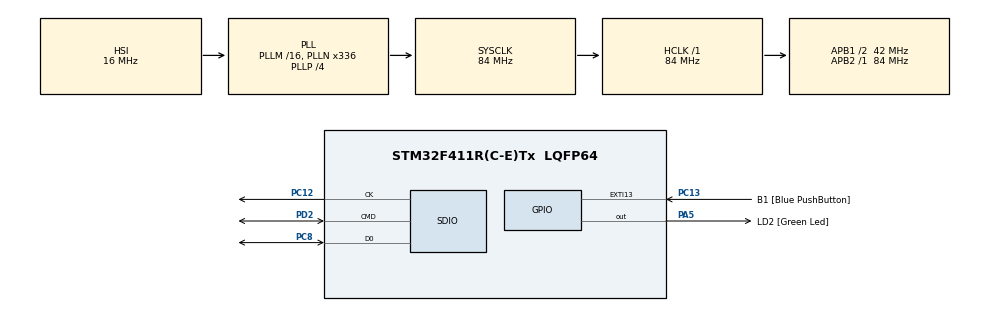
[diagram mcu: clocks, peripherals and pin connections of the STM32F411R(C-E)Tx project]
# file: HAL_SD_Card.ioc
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Mcu.Family=STM32F4
Mcu.Name=STM32F411R(C-E)Tx
Mcu.Package=LQFP64
NVIC.PriorityGroup=NVIC_PRIORITYGROUP_0
PA13.GPIO_Label=TMS
PA13.Mode=Trace-Asynchronous_SW
PA13.Signal=SYS_JTMS-SWDIO
PA14.GPIO_Label=TCK
PA14.Mode=Trace-Asynchronous_SW
PA14.Signal=SYS_JTCK-SWCLK
PA5.GPIO_Label=LD2 [Green Led]
PA5.GPIO_ModeDefaultOutputPP=GPIO_MODE_OUTPUT_PP
PA5.GPIO_PuPd=GPIO_NOPULL
PA5.GPIO_Speed=GPIO_SPEED_LOW
PA5.Signal=GPIO_Output
PB3.GPIO_Label=SWO
PB3.Mode=Trace-Asynchronous_SW
PB3.Signal=SYS_JTDO-SWO
PC12.Mode=SD_1_bit
PC12.Signal=SDIO_CK
PC13-ANTI_TAMP.GPIO_Label=B1 [Blue PushButton]
PC13-ANTI_TAMP.GPIO_ModeDefaultEXTI=GPIO_MODE_EVT_RISING
PC13-ANTI_TAMP.GPIO_PuPd=GPIO_NOPULL
PC13-ANTI_TAMP.Signal=GPXTI13
PC14-OSC32_IN.Signal=RCC_OSC32_IN
PC15-OSC32_OUT.Signal=RCC_OSC32_OUT
PC8.Mode=SD_1_bit
PC8.Signal=SDIO_D0
PD2.Mode=SD_1_bit
PD2.Signal=SDIO_CMD
PH0\ -\ OSC_IN.Signal=RCC_OSC_IN
PH1\ -\ OSC_OUT.Signal=RCC_OSC_OUT
ProjectManager.TargetToolchain=SW4STM32
RCC.48MHZClocksFreq_Value=48000000
RCC.AHBFreq_Value=84000000
RCC.APB1CLKDivider=RCC_HCLK_DIV2
RCC.APB1Freq_Value=42000000
RCC.APB1TimFreq_Value=84000000
RCC.APB2Freq_Value=84000000
RCC.APB2TimFreq_Value=84000000
RCC.CortexFreq_Value=10500000
RCC.HCLKFreq_Value=84000000
RCC.HSE_VALUE=8000000
RCC.HSI_VALUE=16000000
RCC.LSE_VALUE=32768
RCC.PLLN=336
RCC.PLLP=RCC_PLLP_DIV4
RCC.PLLQ=7
RCC.SYSCLKFreq_VALUE=84000000
RCC.SYSCLKSource=RCC_SYSCLKSOURCE_PLLCLK
RCC.VCOOutputFreq_Value=336000000
SDIO.BusWide=SDIO_BUS_WIDE_1B
SDIO.ClockDiv=0
VP_FATFS_VS_SDIO.Mode=SDIO

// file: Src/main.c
/**
  ******************************************************************************
  * File Name          : main.c
  * Date               : 19/04/2015 15:51:18
  * Description        : Main program body
  ******************************************************************************
  *
  * COPYRIGHT(c) 2015 STMicroelectronics
  *
  * Redistribution and use in source and binary forms, with or without modification,
  * are permitted provided that the following conditions are met:
  *   1. Redistributions of source code must retain the above copyright notice,
  *      this list of conditions and the following disclaimer.
  *   2. Redistributions in binary form must reproduce the above copyright notice,
  *      this list of conditions and the following disclaimer in the documentation
  *      and/or other materials provided with the distribution.
  *   3. Neither the name of STMicroelectronics nor the names of its contributors
  *      may be used to endorse or promote products derived from this software
  *      without specific prior written permission.
  *
  * THIS SOFTWARE IS PROVIDED BY THE COPYRIGHT HOLDERS AND CONTRIBUTORS "AS IS"
  * AND ANY EXPRESS OR IMPLIED WARRANTIES, INCLUDING, BUT NOT LIMITED TO, THE
  * IMPLIED WARRANTIES OF MERCHANTABILITY AND FITNESS FOR A PARTICULAR PURPOSE ARE
  * DISCLAIMED. IN NO EVENT SHALL THE COPYRIGHT HOLDER OR CONTRIBUTORS BE LIABLE
  * FOR ANY DIRECT, INDIRECT, INCIDENTAL, SPECIAL, EXEMPLARY, OR CONSEQUENTIAL
  * DAMAGES (INCLUDING, BUT NOT LIMITED TO, PROCUREMENT OF SUBSTITUTE GOODS OR
  * SERVICES; LOSS OF USE, DATA, OR PROFITS; OR BUSINESS INTERRUPTION) HOWEVER
  * CAUSED AND ON ANY THEORY OF LIABILITY, WHETHER IN CONTRACT, STRICT LIABILITY,
  * OR TORT (INCLUDING NEGLIGENCE OR OTHERWISE) ARISING IN ANY WAY OUT OF THE USE
  * OF THIS SOFTWARE, EVEN IF ADVISED OF THE POSSIBILITY OF SUCH DAMAGE.
  *
  ******************************************************************************
  */

#include "stm32f4xx_hal.h"
#include "fatfs.h"
#include "sdio.h"
#include "gpio.h"

FATFS SDFatFs;  /* File system object for SD card logical drive */
FIL MyFile;     /* File object */
char SDPath[4]; /* SD card logical drive path */

void SystemClock_Config(void);
static void Error_Handler(void);

int main(void)
{
	FRESULT res;                                          /* FatFs function common result code */
	uint32_t byteswritten, bytesread;                     /* File write/read counts */
	uint8_t wtext[] = "This is STM32 working with FatFs"; /* File write buffer */
	uint8_t rtext[100];

  /* MCU Configuration----------------------------------------------------------*/

  /* Reset of all peripherals, Initializes the Flash interface and the Systick. */
  HAL_Init();

  /* Configure the system clock */
  SystemClock_Config();

  /* Initialize all configured peripherals */
  MX_GPIO_Init();
  MX_SDIO_SD_Init();
//  MX_FATFS_Init();

  /* USER CODE BEGIN 2 */
  /*##-1- Link the micro SD disk I/O driver ##################################*/
  if(FATFS_LinkDriver(&SD_Driver, SDPath) == 0)
  {
    /*##-2- Register the file system object to the FatFs module ##############*/
	res=f_mount(&SDFatFs, (TCHAR const*)SDPath, 0);
    if(res != FR_OK)
    {
      while(1);
    }
    else
    {
      /*##-3- Create a FAT file system (format) on the logical drive #########*/
      /* WARNING: Formatting the uSD card will delete all content on the device */
//      if(f_mkfs((TCHAR const*)SDPath, 0, 0) != FR_OK)
//      {
//        /* FatFs Format Error */
//        Error_Handler();
//      }
//      else
//      {
        /*##-4- Create and Open a new text file object with write access #####*/
    	res=f_open(&MyFile, "STM32.TXT", FA_CREATE_ALWAYS | FA_WRITE);
        if(res != FR_OK)
        {
          /* 'STM32.TXT' file Open for write Error */
        while(1);
        }
        else
        {
          /*##-5- Write data to the text file ################################*/
          res = f_write(&MyFile, wtext, sizeof(wtext), (void *)&byteswritten);

          if((byteswritten == 0) || (res != FR_OK))
          {
            /* 'STM32.TXT' file Write or EOF Error */
            Error_Handler();
          }
          else
          {
            /*##-6- Close the open text file #################################*/
            f_close(&MyFile);

            /*##-7- Open the text file object with read access ###############*/
            if(f_open(&MyFile, "STM32.TXT", FA_READ) != FR_OK)
            {
              /* 'STM32.TXT' file Open for read Error */
              Error_Handler();
            }
            else
            {
              /*##-8- Read data from the text file ###########################*/
              res = f_read(&MyFile, rtext, sizeof(rtext), (UINT*)&bytesread);

              if((bytesread == 0) || (res != FR_OK))
              {
                /* 'STM32.TXT' file Read or EOF Error */
                Error_Handler();
              }
              else
              {
                /*##-9- Close the open text file #############################*/
                f_close(&MyFile);

                /*##-10- Compare read data with the expected data ############*/
                if((bytesread != byteswritten))
                {
                  /* Read data is different from the expected data */
                  Error_Handler();
                }
                else
                {
                  /* Success of the demo: no error occurrence */
//                  BSP_LED_On(LED1);
                }
              }
            }
//          }
        }
      }
    }
  }

  /*##-11- Unlink the micro SD disk I/O driver ###############################*/
  FATFS_UnLinkDriver(SDPath);
  /* USER CODE END 2 */

  /* Infinite loop */
  while (1)
  {

  }

}

/** System Clock Configuration
*/
void SystemClock_Config(void)
{

  RCC_OscInitTypeDef RCC_OscInitStruct;
  RCC_ClkInitTypeDef RCC_ClkInitStruct;

  __PWR_CLK_ENABLE();

  __HAL_PWR_VOLTAGESCALING_CONFIG(PWR_REGULATOR_VOLTAGE_SCALE2);

  RCC_OscInitStruct.OscillatorType = RCC_OSCILLATORTYPE_HSI;
  RCC_OscInitStruct.HSIState = RCC_HSI_ON;
  RCC_OscInitStruct.HSICalibrationValue = 16;
  RCC_OscInitStruct.PLL.PLLState = RCC_PLL_ON;
  RCC_OscInitStruct.PLL.PLLSource = RCC_PLLSOURCE_HSI;
  RCC_OscInitStruct.PLL.PLLM = 16;
  RCC_OscInitStruct.PLL.PLLN = 336;
  RCC_OscInitStruct.PLL.PLLP = RCC_PLLP_DIV4;
  RCC_OscInitStruct.PLL.PLLQ = 7;
  HAL_RCC_OscConfig(&RCC_OscInitStruct);

  RCC_ClkInitStruct.ClockType = RCC_CLOCKTYPE_SYSCLK|RCC_CLOCKTYPE_PCLK1;
  RCC_ClkInitStruct.SYSCLKSource = RCC_SYSCLKSOURCE_PLLCLK;
  RCC_ClkInitStruct.AHBCLKDivider = RCC_SYSCLK_DIV1;
  RCC_ClkInitStruct.APB1CLKDivider = RCC_HCLK_DIV2;
  RCC_ClkInitStruct.APB2CLKDivider = RCC_HCLK_DIV1;
  HAL_RCC_ClockConfig(&RCC_ClkInitStruct, FLASH_LATENCY_2);

}

/* USER CODE BEGIN 4 */
/**
  * @brief  This function is executed in case of error occurrence.
  * @param  None
  * @retval None
  */
static void Error_Handler(void)
{
  /* Turn LED3 on */
//  BSP_LED_On(LED3);
  while(1)
  {
  }
}
/* USER CODE END 4 */

/************************ (C) COPYRIGHT STMicroelectronics *****END OF FILE****/
